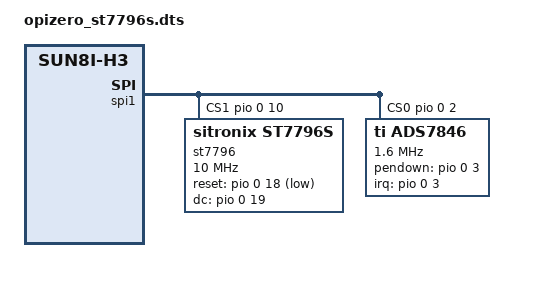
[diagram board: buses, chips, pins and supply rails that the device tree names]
/*
MOSI		PA15
MISO		PA16
CLK			PA14
TFT_CS		PA10
DC			PA19
RST			PA18
TOUCH_CS	PA02
TOUCH_IRQ	PA03
*/

/dts-v1/;
/plugin/;

/ {
    compatible = "allwinner,sun8i-h3";

	fragment@0 {
		target = <&spi1>;
		__overlay__ {
			num-cs = <2>;
            cs-gpios = <&pio 0 2 0>, <&pio 0 10 0>;
			status = "okay";
			#address-cells = <1>;
			#size-cells = <0>;

			st7796: st7796s@0{
                compatible = "sitronix,st7796s";
                reg = <1>;
                spi-max-frequency = <10000000>;
                rotation = <180>;
                fps = <30>;
                buswidth = <16>;
                reset-gpios = <&pio 0 18 1>;
                dc-gpios = <&pio 0 19 0>;
                debug = <0>;
            };

			ads7846: ads7846@0 {
				compatible = "ti,ads7846";
                reg = <0>; 
				status = "okay";
				spi-max-frequency = <1600000>;
                interrupts = <0 3 2>;
                interrupt-parent = <&pio>;
                pendown-gpio = <&pio 0 3 0>; 

				ti,x-min = /bits/ 16 <0>;
                ti,y-min = /bits/ 16 <0>;
                ti,x-max = /bits/ 16 <0x0FFF>;
                ti,y-max = /bits/ 16 <0x0FFF>;
                ti,pressure-min = /bits/ 16 <0>;
                ti,pressure-max = /bits/ 16 <0xFFFF>;
                ti,x-plate-ohms = /bits/ 16 <400>;
				};
		};
	};
};
